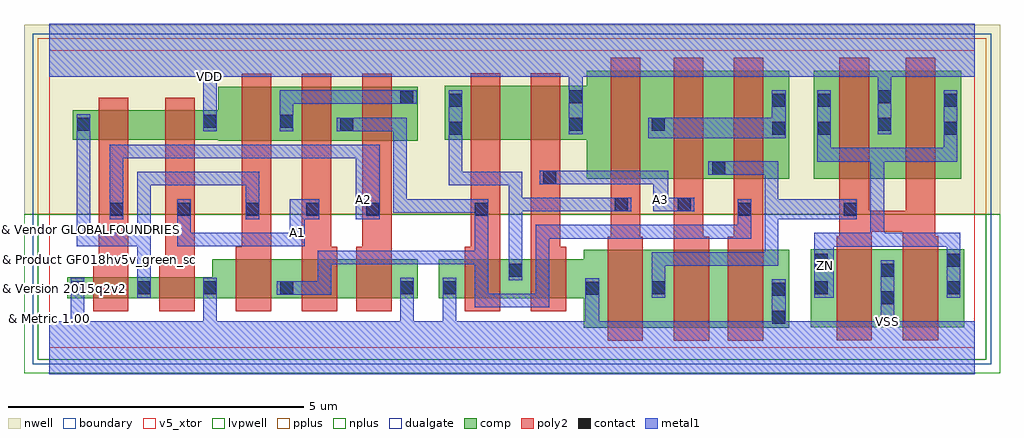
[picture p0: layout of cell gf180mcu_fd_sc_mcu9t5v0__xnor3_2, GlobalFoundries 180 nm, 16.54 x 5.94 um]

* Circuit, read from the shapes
.subckt gf180mcu_fd_sc_mcu9t5v0__xnor3_2 A1 A2 A3 VDD VSS ZN
XM1 n1 A2 VSS VSUBS nfet_05v0 w=0.36u l=0.6u
XM2 VSS A1 n1 VSUBS nfet_05v0 w=0.36u l=0.6u
XM3 n2 n1 VSS VSUBS nfet_05v0 w=0.66u l=0.6u
XM4 n3 A1 n2 VSUBS nfet_05v0 w=0.66u l=0.6u
XM5 VSS A2 n3 VSUBS nfet_05v0 w=0.66u l=0.6u
XM6 n4 n2 VSS VSUBS nfet_05v0 w=0.66u l=0.6u
XM7 VSS A3 n4 VSUBS nfet_05v0 w=0.66u l=0.6u
XM8 n5 n4 VSS VSUBS nfet_05v0 w=1.32u l=0.6u
XM9 n6 A3 n5 VSUBS nfet_05v0 w=1.32u l=0.6u
XM10 VSS n2 n6 VSUBS nfet_05v0 w=1.32u l=0.6u
XM11 VSS n5 ZN VSUBS nfet_05v0 w=1.32u l=0.6u m=2
XM12 n7 A2 n1 n8 pfet_05v0 w=0.495u l=0.5u
XM13 VDD A1 n7 n8 pfet_05v0 w=0.495u l=0.5u
XM14 n9 n1 VDD n8 pfet_05v0 w=0.915u l=0.5u
XM15 n2 A1 n9 n8 pfet_05v0 w=0.915u l=0.5u
XM16 n9 A2 n2 n8 pfet_05v0 w=0.915u l=0.5u
XM17 n10 n2 n4 n8 pfet_05v0 w=0.915u l=0.5u
XM18 VDD A3 n10 n8 pfet_05v0 w=0.915u l=0.5u
XM19 n11 n4 VDD n8 pfet_05v0 w=1.83u l=0.5u
XM20 n5 A3 n11 n8 pfet_05v0 w=1.83u l=0.5u
XM21 n11 n2 n5 n8 pfet_05v0 w=1.83u l=0.5u
XM22 VDD n5 ZN n8 pfet_05v0 w=1.83u l=0.5u m=2
.ends

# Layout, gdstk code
import gdstk
lib = gdstk.Library(unit=1e-6, precision=1e-09)
def R(c, l, rs):  # rectangles x0, y0, x1, y1
    for r in rs: c.add(gdstk.rectangle(r[:2], r[2:], *l))
def A(c, l, x, y, w, h, nx, ny, dx, dy):  # array of equal rectangles
    R(c, l, [(x+i*dx, y+j*dy, x+i*dx+w, y+j*dy+h) for i in range(nx) for j in range(ny)])
def P(c, l, *ps):  # polygons
    for p in ps: c.add(gdstk.Polygon(p, *l))
boundary = (0, 0)
nwell = (21, 0)
comp = (22, 0)
poly2 = (30, 0)
pplus = (31, 0)
nplus = (32, 0)
contact = (33, 0)
metal1 = (34, 0)
dualgate = (55, 0)
v5_xtor = (112, 1)
lvpwell = (204, 0)

gf180mcu_fd_sc_mcu9t5v0_ = lib.new_cell('gf180mcu_fd_sc_mcu9t5v0__xnor3_2')
R(gf180mcu_fd_sc_mcu9t5v0_, boundary, [(0,0,15.68,5.04)])
R(gf180mcu_fd_sc_mcu9t5v0_, nwell, [(-0.43,2.265,16.11,5.47)])
R(gf180mcu_fd_sc_mcu9t5v0_, comp, [(12.9,0.345,15.5,1.665), (12.95,2.865,15.45,4.695)])
P(gf180mcu_fd_sc_mcu9t5v0_, comp, [(0.3,0.835),(0.3,1.195),(2.76,1.195),(2.76,1.495),(6.24,1.495),(6.24,0.835)],
  [(2.86,3.51),(2.86,3.525),(0.4,3.525),(0.4,4.02),(2.86,4.02),(2.86,4.425),(6.24,4.425),(6.24,3.51)],
  [(9.06,0.34),(9.06,0.835),(6.6,0.835),(6.6,1.495),(9.06,1.495),(9.06,1.66),(12.54,1.66),(12.54,0.34)],
  [(9.11,2.865),(9.11,3.52),(6.7,3.52),(6.7,4.435),(9.11,4.435),(9.11,4.695),(12.54,4.695),(12.54,2.865)])
P(gf180mcu_fd_sc_mcu9t5v0_, poly2, [(0.74,0.615),(0.74,1.415),(0.84,1.415),(0.84,4.24),(1.34,4.24),(1.34,0.615)],
  [(1.86,0.615),(1.86,1.415),(1.96,1.415),(1.96,4.24),(2.46,4.24),(2.46,0.615)],
  [(3.16,0.615),(3.16,1.715),(3.26,1.715),(3.26,4.645),(3.76,4.645),(3.76,0.615)],
  [(4.28,0.615),(4.28,4.645),(4.78,4.645),(4.78,1.715),(4.88,1.715),(4.88,0.615)],
  [(5.2,0.615),(5.2,1.715),(5.3,1.715),(5.3,4.645),(5.8,4.645),(5.8,0.615)],
  [(7.04,0.615),(7.04,1.715),(7.14,1.715),(7.14,4.655),(7.64,4.655),(7.64,0.615)],
  [(8.16,0.615),(8.16,4.655),(8.66,4.655),(8.66,1.715),(8.76,1.715),(8.76,0.615)],
  [(9.46,0.12),(9.46,1.88),(9.51,1.88),(9.51,4.915),(10.01,4.915),(10.01,1.88),(10.06,1.88),(10.06,0.12)],
  [(10.58,0.12),(10.58,4.915),(11.08,4.915),(11.08,1.88),(11.18,1.88),(11.18,0.12)],
  [(11.5,0.12),(11.5,1.88),(11.6,1.88),(11.6,4.915),(12.1,4.915),(12.1,0.12)],
  [(13.34,0.125),(13.34,1.885),(13.39,1.885),(13.39,4.915),(13.89,4.915),(13.89,2.325),(14.51,2.325),(14.51,4.915),(15.01,4.915),(15.01,1.885),(15.06,1.885),(15.06,0.125),(14.46,0.125),(14.46,1.965),(13.94,1.965),(13.94,0.125)])
R(gf180mcu_fd_sc_mcu9t5v0_, pplus, [(-0.2,2.265,15.88,5.24)])
R(gf180mcu_fd_sc_mcu9t5v0_, nplus, [(-0.2,-0.2,15.88,2.265)])
A(gf180mcu_fd_sc_mcu9t5v0_, contact, 0.37, 0.905, 0.22, 0.22, 3, 1, 1.12, 0)
A(gf180mcu_fd_sc_mcu9t5v0_, contact, 3.33, 2.24, 0.22, 0.22, 3, 1, 1.02, 0)
R(gf180mcu_fd_sc_mcu9t5v0_, contact, [(12.25,0.41,12.47,0.63), (14.09,0.735,14.31,0.955), (12.25,0.88,12.47,1.1), (9.09,0.9,9.31,1.12), (3.91,0.905,4.13,1.125), (5.95,0.905,6.17,1.125), (6.67,0.905,6.89,1.125), (10.21,0.905,10.43,1.125), (12.97,0.905,13.19,1.125), (15.21,0.905,15.43,1.125), (7.79,1.205,8.01,1.425), (14.09,1.205,14.31,1.425), (12.97,1.375,13.19,1.595), (15.21,1.375,15.43,1.595), (1.03,2.24,1.25,2.46), (2.17,2.24,2.39,2.46), (7.21,2.24,7.43,2.46), (11.67,2.24,11.89,2.46), (13.46,2.24,13.68,2.46), (9.58,2.315,9.8,2.535), (10.65,2.315,10.87,2.535), (8.37,2.775,8.59,2.995), (11.23,2.935,11.45,3.155), (6.77,3.61,6.99,3.83), (12.25,3.61,12.47,3.83), (13.02,3.61,13.24,3.83), (15.16,3.61,15.38,3.83), (0.47,3.675,0.69,3.895), (4.93,3.675,5.15,3.895), (8.81,3.675,9.03,3.895), (10.21,3.675,10.43,3.895), (14.04,3.675,14.26,3.895), (2.61,3.73,2.83,3.95), (3.91,3.73,4.13,3.95), (6.77,4.08,6.99,4.3), (12.25,4.08,12.47,4.3), (13.02,4.08,13.24,4.3), (15.16,4.08,15.38,4.3), (5.95,4.135,6.17,4.355), (8.81,4.145,9.03,4.365), (14.04,4.145,14.26,4.365)])
P(gf180mcu_fd_sc_mcu9t5v0_, metal1, [(1.485,0.845),(1.485,1.72),(0.465,1.72),(0.465,3.955),(0.695,3.955),(0.695,1.95),(1.485,1.95),(1.485,2.98),(3.555,2.98),(3.555,2.18),(3.325,2.18),(3.325,2.75),(1.715,2.75),(1.715,0.845)],
  [(2.165,1.72),(2.165,2.52),(2.395,2.52),(2.395,1.95),(4.07,1.95),(4.07,2.52),(4.575,2.52),(4.575,2.18),(4.33,2.18),(4.33,1.72)],
  [(1.025,2.18),(1.025,3.44),(5.595,3.44),(5.595,2.18),(5.19,2.18),(5.19,3.21),(1.255,3.21),(1.255,2.18)],
  [(3.905,3.67),(3.905,4.36),(6.23,4.36),(6.23,4.13),(4.135,4.13),(4.135,3.67)],
  [(7.785,1.145),(7.785,2.75),(6.765,2.75),(6.765,4.36),(6.995,4.36),(6.995,2.98),(8.015,2.98),(8.015,2.54),(9.86,2.54),(9.86,2.31),(8.015,2.31),(8.015,1.145)],
  [(10.23,2.31),(10.23,2.77),(8.31,2.77),(8.31,3),(10.49,3),(10.49,2.54),(10.93,2.54),(10.93,2.31)],
  [(7.205,0.685),(7.205,1.415),(4.78,1.415),(4.78,0.9),(3.85,0.9),(3.85,1.13),(4.55,1.13),(4.55,1.645),(7.205,1.645),(7.205,2.29),(5.825,2.29),(5.825,3.67),(4.87,3.67),(4.87,3.9),(6.055,3.9),(6.055,2.52),(7.435,2.52),(7.435,0.915),(8.245,0.915),(8.245,2.08),(11.665,2.08),(11.665,2.52),(11.895,2.52),(11.895,1.85),(8.475,1.85),(8.475,0.685)],
  [(10.15,3.55),(10.15,3.9),(12.245,3.9),(12.245,4.36),(12.475,4.36),(12.475,3.55)],
  [(10.205,0.845),(10.205,1.62),(12.125,1.62),(12.125,2.93),(11.17,2.93),(11.17,3.16),(12.355,3.16),(12.355,2.52),(13.685,2.52),(13.685,2.18),(12.355,2.18),(12.355,1.39),(10.435,1.39),(10.435,0.845)],
  [(12.965,0.845),(12.965,1.945),(13.915,1.945),(13.915,3.155),(13.015,3.155),(13.015,4.36),(13.245,4.36),(13.245,3.385),(15.155,3.385),(15.155,4.36),(15.385,4.36),(15.385,3.155),(14.145,3.155),(14.145,1.945),(15.435,1.945),(15.435,0.845),(15.205,0.845),(15.205,1.715),(13.29,1.715),(13.29,0.845)],
  [(0,-0.45),(0,0.45),(0.365,0.45),(0.365,1.185),(0.595,1.185),(0.595,0.45),(2.605,0.45),(2.605,1.185),(2.835,1.185),(2.835,0.45),(5.945,0.45),(5.945,1.185),(6.175,1.185),(6.175,0.45),(6.665,0.45),(6.665,1.185),(6.895,1.185),(6.895,0.45),(9.085,0.45),(9.085,1.18),(9.315,1.18),(9.315,0.45),(12.245,0.45),(12.245,1.16),(12.475,1.16),(12.475,0.45),(14.085,0.45),(14.085,1.485),(14.315,1.485),(14.315,0.45),(15.68,0.45),(15.68,-0.45)],
  [(8.805,3.615),(8.805,4.59),(2.835,4.59),(2.835,3.67),(2.605,3.67),(2.605,4.59),(0,4.59),(0,5.49),(15.68,5.49),(15.68,4.59),(14.265,4.59),(14.265,3.615),(14.035,3.615),(14.035,4.59),(9.035,4.59),(9.035,3.615)])
R(gf180mcu_fd_sc_mcu9t5v0_, dualgate, [(-0.28,-0.28,15.96,5.32)])
R(gf180mcu_fd_sc_mcu9t5v0_, v5_xtor, [(0,0,15.68,5.04)])
R(gf180mcu_fd_sc_mcu9t5v0_, lvpwell, [(-0.43,-0.43,16.11,2.265)])
gf180mcu_fd_sc_mcu9t5v0_.add(gdstk.Label('A1', (4.2,1.96), layer=34, texttype=10))
gf180mcu_fd_sc_mcu9t5v0_.add(gdstk.Label('A2', (5.32,2.52), layer=34, texttype=10))
gf180mcu_fd_sc_mcu9t5v0_.add(gdstk.Label('A3', (10.36,2.52), layer=34, texttype=10))
gf180mcu_fd_sc_mcu9t5v0_.add(gdstk.Label('VDD', (2.72,4.59), layer=34, texttype=10))
gf180mcu_fd_sc_mcu9t5v0_.add(gdstk.Label('VSS', (14.2,0.45), layer=34, texttype=10))
gf180mcu_fd_sc_mcu9t5v0_.add(gdstk.Label('ZN', (13.16,1.4), layer=34, texttype=10))
gf180mcu_fd_sc_mcu9t5v0_.add(gdstk.Label('& Vendor GLOBALFOUNDRIES', (0,2), layer=63, texttype=63))
gf180mcu_fd_sc_mcu9t5v0_.add(gdstk.Label('& Product GF018hv5v_green_sc9', (0,1.5), layer=63, texttype=63))
gf180mcu_fd_sc_mcu9t5v0_.add(gdstk.Label('& Version 2015q2v2', (0,1), layer=63, texttype=63))
gf180mcu_fd_sc_mcu9t5v0_.add(gdstk.Label('& Metric 1.00', (0,0.5), layer=63, texttype=63))

lib.write_gds('gf180mcu_fd_sc_mcu9t5v0__xnor3_2.gds')
